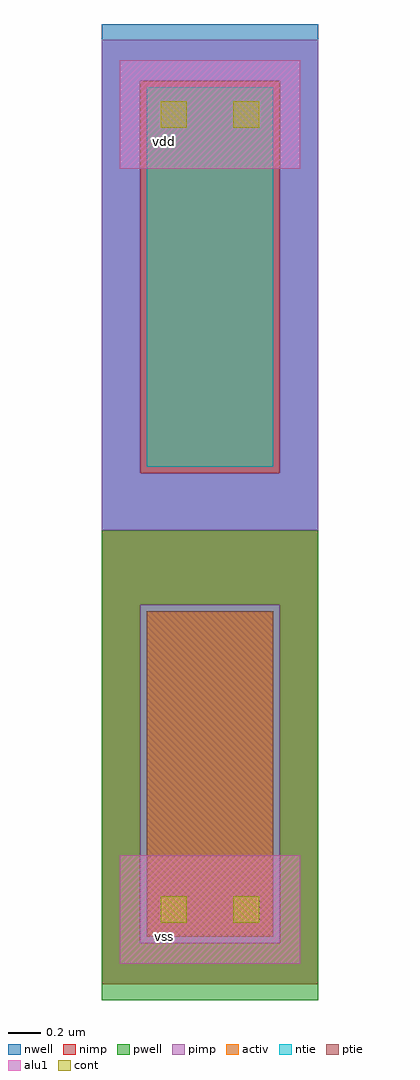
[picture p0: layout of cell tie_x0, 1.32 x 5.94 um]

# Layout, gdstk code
import gdstk
lib = gdstk.Library(unit=1e-6, precision=2.5e-09)
def R(c, l, rs):  # rectangles x0, y0, x1, y1
    for r in rs: c.add(gdstk.rectangle(r[:2], r[2:], *l))
ntie = (5, 0)
ptie = (6, 0)
cont = (25, 0)
pwell = (41, 0)
nwell = (42, 0)
activ = (43, 0)
pimp = (44, 0)
nimp = (45, 0)
alu1 = (49, 0)

tie_x0 = lib.new_cell('tie_x0')
R(tie_x0, ntie, [(0.165,3.025,0.935,5.335)])
R(tie_x0, ptie, [(0.165,0.165,0.935,2.145)])
R(tie_x0, cont, [(0.25,0.25,0.41,0.41), (0.69,0.25,0.85,0.41), (0.25,5.09,0.41,5.25), (0.69,5.09,0.85,5.25)])
R(tie_x0, pwell, [(-0.11,-0.22,1.21,2.64)])
R(tie_x0, nwell, [(-0.11,2.64,1.21,5.72)])
R(tie_x0, activ, [(0.165,0.165,0.935,2.145), (0.165,3.025,0.935,5.335)])
R(tie_x0, pimp, [(0.125,0.125,0.975,2.185), (-0.11,2.64,1.21,2.985), (-0.11,2.985,0.125,5.375), (0.975,2.985,1.21,5.375), (-0.11,5.375,1.21,5.625)])
R(tie_x0, nimp, [(-0.11,-0.125,1.21,0.125), (-0.11,0.125,0.125,2.185), (0.975,0.125,1.21,2.185), (-0.11,2.185,1.21,2.64), (0.125,2.985,0.975,5.375)])
R(tie_x0, alu1, [(0,0,1.1,0.66), (0,4.84,1.1,5.5)])
tie_x0.add(gdstk.Label('vss', (0.275,0.165), layer=49, texttype=0))
tie_x0.add(gdstk.Label('vdd', (0.275,5.005), layer=49, texttype=0))

lib.write_gds('tie_x0.gds')
